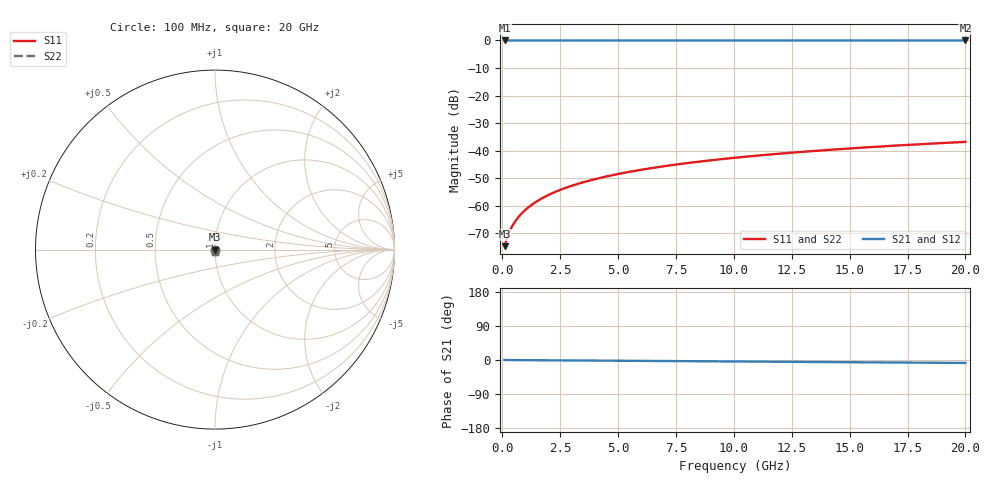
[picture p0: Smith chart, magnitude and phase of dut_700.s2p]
! Created Tue Jul  7 15:39:37 2026
# hz S ma R 50
! Port[1] Term1
! Port[2] Term2
! 2 Port Network Data from SP1.SP block
! freq  magS11  angS11  magS21  angS21  magS12  angS12  magS22  angS22
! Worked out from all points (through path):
!   200 points, 100 MHz to 20 GHz, reference 50 ohm
!   highest |S21| = 0.00 dB at 100 MHz (marker M1); lowest = 0.0 dB at 20 GHz (marker M2)
!   group delay of S21, straight-line fit = 1.08 ps
!   lowest |S11| = -74.7 dB at 100 MHz (marker M3), VSWR 1.00, Z = 50 - j0.00734 ohm
!   |S11| at or under -10 dB: start of sweep to end of sweep
!   |S22| runs from -74.7 to -36.8 dB; largest |S21 - S12| = 0
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1e8  0.0001835 -23.6  0.9998 -0.0  0.9998 -0.0  0.0001835 -23.6
2e8  0.0002577 -34.7  0.9998 -0.1  0.9998 -0.1  0.0002577 -34.7
3e8  0.0003304 -41.8  0.9998 -0.1  0.9998 -0.1  0.0003304 -41.8
4e8  0.0004028 -46.8  0.9997 -0.2  0.9997 -0.2  0.0004028 -46.8
5e8  0.0004752 -50.6  0.9997 -0.2  0.9997 -0.2  0.0004752 -50.6
6e8  0.0005476 -53.6  0.9997 -0.2  0.9997 -0.2  0.0005476 -53.6
8e8  0.0006926 -58.1  0.9996 -0.3  0.9996 -0.3  0.0006926 -58.1
1.1e9  0.0009105 -62.6  0.9996 -0.4  0.9996 -0.4  0.0009105 -62.6
1.3e9  0.001056 -64.8  0.9995 -0.5  0.9995 -0.5  0.001056 -64.8
1.6e9  0.001275 -67.4  0.9995 -0.6  0.9995 -0.6  0.001275 -67.4
2.1e9  0.001639 -70.5  0.9994 -0.8  0.9994 -0.8  0.001639 -70.5
2.7e9  0.002077 -73.1  0.9994 -1.1  0.9994 -1.1  0.002077 -73.1
3.5e9  0.00266 -75.6  0.9993 -1.4  0.9993 -1.4  0.00266 -75.6
4.2e9  0.00317 -77.3  0.9992 -1.6  0.9992 -1.6  0.00317 -77.3
5e9  0.003753 -78.8  0.9991 -1.9  0.9991 -1.9  0.003753 -78.8
5.9e9  0.004407 -80.2  0.9991 -2.3  0.9991 -2.3  0.004407 -80.2
6.8e9  0.00506 -81.4  0.999 -2.6  0.999 -2.6  0.00506 -81.4
8.3e9  0.006146 -83.0  0.9989 -3.2  0.9989 -3.2  0.006146 -83.0
1.01e10  0.007442 -84.7  0.9988 -3.9  0.9988 -3.9  0.007442 -84.7
1.34e10  0.009796 -87.2  0.9986 -5.2  0.9986 -5.2  0.009796 -87.2
1.67e10  0.01211 -89.3  0.9984 -6.5  0.9984 -6.5  0.01211 -89.3
2e10  0.01438 -91.1  0.9982 -7.8  0.9982 -7.8  0.01438 -91.1
